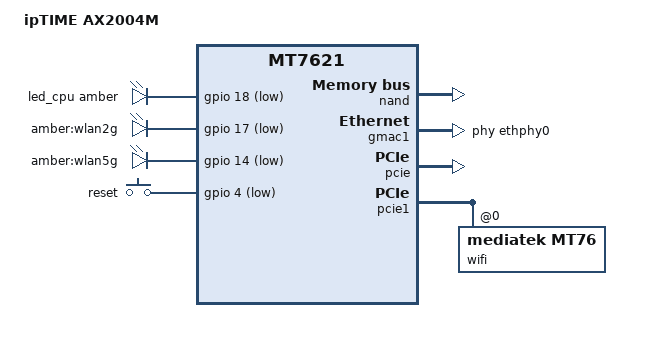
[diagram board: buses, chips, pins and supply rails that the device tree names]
// SPDX-License-Identifier: GPL-2.0-or-later OR MIT

#include "mt7621.dtsi"

#include <dt-bindings/gpio/gpio.h>
#include <dt-bindings/input/input.h>
#include <dt-bindings/leds/common.h>

/ {
	compatible = "iptime,ax2004m", "mediatek,mt7621-soc";
	model = "ipTIME AX2004M";

	aliases {
		led-boot = &led_cpu;
		led-failsafe = &led_cpu;
		led-running = &led_cpu;
		led-upgrade = &led_cpu;
	};

	chosen {
		bootargs = "console=ttyS0,115200";
	};

	leds {
		compatible = "gpio-leds";

		led_cpu: cpu {
			function = LED_FUNCTION_CPU;
			color = <LED_COLOR_ID_AMBER>;
			gpios = <&gpio 18 GPIO_ACTIVE_LOW>;
		};

		wlan2g {
			label = "amber:wlan2g";
			gpios = <&gpio 17 GPIO_ACTIVE_LOW>;
			linux,default-trigger = "phy0radio";
		};

		wlan5g {
			label = "amber:wlan5g";
			gpios = <&gpio 14 GPIO_ACTIVE_LOW>;
			linux,default-trigger = "phy1radio";
		};
	};

	keys {
		compatible = "gpio-keys";

		reset {
			label = "reset";
			gpios = <&gpio 4 GPIO_ACTIVE_LOW>;
			linux,code = <KEY_RESTART>;
		};
	};
};

&nand {
	status = "okay";

	mediatek,nmbm;
	mediatek,bmt-max-ratio = <1>;
	mediatek,bmt-max-reserved-blocks = <64>;
	mediatek,bmt-remap-range = <0x000000 0x580000>;

	partitions {
		compatible = "fixed-partitions";
		#address-cells = <1>;
		#size-cells = <1>;

		partition@0 {
			label = "u-boot";
			reg = <0x0 0x80000>;
			read-only;
		};

		partition@80000 {
			label = "u-boot-env";
			reg = <0x80000 0x80000>;
		};

		partition@100000 {
			label = "factory";
			reg = <0x100000 0x80000>;
			read-only;

			nvmem-layout {
				compatible = "fixed-layout";
				#address-cells = <1>;
				#size-cells = <1>;

				eeprom_factory_0: eeprom@0 {
					reg = <0x0 0xe00>;
				};

				macaddr_factory_4: macaddr@4 {
					compatible = "mac-base";
					reg = <0x4 0x6>;
					#nvmem-cell-cells = <1>;
				};

				precal_factory_e10: precal@e10 {
					reg = <0xe10 0x19c10>;
				};
			};
		};

		partition@180000 {
			label = "firmware";
			reg = <0x180000 0x7680000>;

			compatible = "fixed-partitions";
			#address-cells = <1>;
			#size-cells = <1>;

			partition@0 {
				label = "kernel";
				reg = <0x0 0x400000>;
			};

			partition@400000 {
				label = "ubi";
				reg = <0x400000 0x7280000>;
			};
		};

		/* last 8 MiB is reserved for NMBM bad block table */
	};
};

&state_default {
	gpio {
		groups = "i2c", "jtag", "wdt";
		function = "gpio";
	};
};

&gmac0 {
	nvmem-cells = <&macaddr_factory_4 3>;
	nvmem-cell-names = "mac-address";
};

&gmac1 {
	status = "okay";
	label = "wan";
	phy-handle = <&ethphy0>;

	nvmem-cells = <&macaddr_factory_4 1>;
	nvmem-cell-names = "mac-address";
};

&ethphy0 {
	/delete-property/ interrupts;
};

&switch0 {
	ports {
		port@1 {
			status = "okay";
			label = "lan4";
		};

		port@2 {
			status = "okay";
			label = "lan3";
		};

		port@3 {
			status = "okay";
			label = "lan2";
		};

		port@4 {
			status = "okay";
			label = "lan1";
		};
	};
};

&pcie {
	status = "okay";
};

&pcie1 {
	wifi@0,0 {
		compatible = "mediatek,mt76";
		reg = <0x0000 0 0 0 0>;
		nvmem-cells = <&eeprom_factory_0>, <&precal_factory_e10>;
		nvmem-cell-names = "eeprom", "precal";
	};
};
